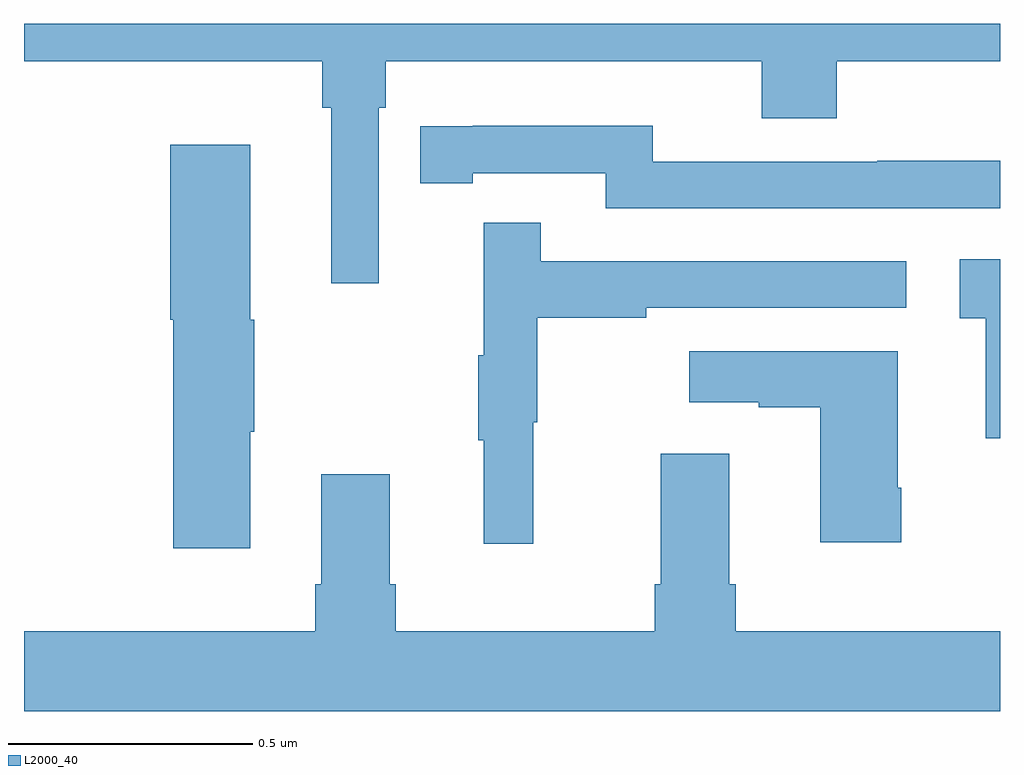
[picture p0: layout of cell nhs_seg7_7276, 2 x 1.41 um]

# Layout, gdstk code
import gdstk
lib = gdstk.Library(unit=1e-6, precision=1e-09)
def P(c, l, *ps):  # polygons
    for p in ps: c.add(gdstk.Polygon(p, *l))
L2000_40 = (2000, 40)

nhs_seg7_7276 = lib.new_cell('nhs_seg7_7276')
P(nhs_seg7_7276, L2000_40, [(209.727,1025.828),(209.741,1025.828),(209.741,1025.924),(210.512,1025.924),(210.512,1025.807),(210.665,1025.807),(210.665,1025.924),(211,1025.924),(211,1026),(209,1026),(209,1025.924),(209.611,1025.924),(209.611,1025.828),(209.63,1025.828),(209.63,1025.469),(209.727,1025.469)],
  [(211,1025.72),(210.748,1025.72),(210.748,1025.718),(210.288,1025.718),(210.288,1025.791),(209.92,1025.791),(209.92,1025.79),(209.812,1025.79),(209.812,1025.674),(209.92,1025.674),(209.92,1025.694),(210.192,1025.694),(210.192,1025.622),(211,1025.622)],
  [(209.464,1025.164),(209.472,1025.164),(209.472,1025.394),(209.464,1025.394),(209.464,1025.752),(209.3,1025.752),(209.3,1025.394),(209.306,1025.394),(209.306,1024.926),(209.464,1024.926)],
  [(210.044,1025.184),(210.052,1025.184),(210.052,1025.398),(210.275,1025.398),(210.275,1025.418),(210.808,1025.418),(210.808,1025.514),(210.059,1025.514),(210.059,1025.593),(209.942,1025.593),(209.942,1025.321),(209.931,1025.321),(209.931,1025.147),(209.942,1025.147),(209.942,1024.935),(210.044,1024.935)],
  [(211,1025.518),(210.918,1025.518),(210.918,1025.397),(210.971,1025.397),(210.971,1025.151),(211,1025.151)],
  [(210.798,1025.05),(210.79,1025.05),(210.79,1025.329),(210.363,1025.329),(210.363,1025.225),(210.506,1025.225),(210.506,1025.215),(210.632,1025.215),(210.632,1024.938),(210.798,1024.938)],
  [(211,1024.756),(210.458,1024.756),(210.458,1024.852),(210.445,1024.852),(210.445,1025.119),(210.305,1025.119),(210.305,1024.852),(210.293,1024.852),(210.293,1024.756),(209.762,1024.756),(209.762,1024.852),(209.749,1024.852),(209.749,1025.077),(209.609,1025.077),(209.609,1024.852),(209.597,1024.852),(209.597,1024.756),(209,1024.756),(209,1024.592),(211,1024.592)])

lib.write_gds('nhs_seg7_7276.gds')
